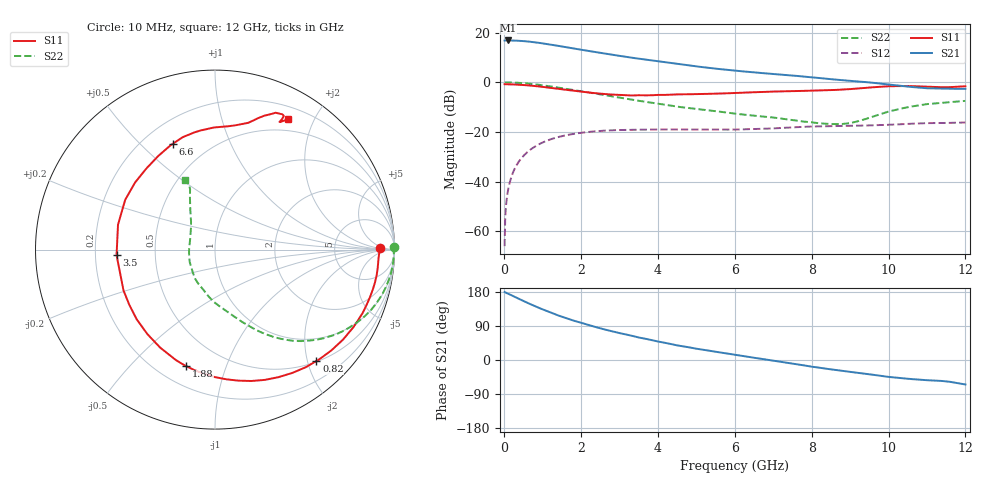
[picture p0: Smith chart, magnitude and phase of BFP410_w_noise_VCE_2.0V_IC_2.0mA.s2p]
! Infineon Technologies  Discrete & RF Semiconductors
! BFP410
! VCE =  2.0 V,  IC =  2.0 mA
! Common Emitter S-Parameters:  Nov 2015
# GHz  S  MA  R  50
!  f  S11  S21  S12  S22
! GHz  MAG  ANG  MAG  ANG  MAG  ANG  MAG  ANG
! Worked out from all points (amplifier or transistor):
!   243 points, 10 MHz to 12 GHz, reference 50 ohm
!   highest |S21| = 16.9 dB at 100 MHz (marker M1)
!   |S21| within 3 dB of that: start of sweep to 1.724 GHz
!   unconditionally stable (mu >= 1): 4.085 GHz to end of sweep
!   at 240 MHz: K = 0.04, MSG = 26.4 dB, |S12| = -35.9 dB
!   at 1.84 GHz: K = 0.38, MSG = 17.1 dB, |S12| = -20.7 dB
!   at 12 GHz: K = 1.15, MAG = 4.4 dB, |S12| = -16.2 dB
!   lowest NFmin = 0.82 dB at 900 MHz
!   S11 on the Smith chart (normalised r, x): 10 MHz: 23, +2; 820 MHz: 0.51, -2.16; 1.88 GHz: 0.31, -0.73; 3.5 GHz: 0.29, -0.03; 6.6 GHz: 0.32, +0.63; 12 GHz: 0.35, +1.65
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0.01  0.9168 0.4  6.943 179.5  0.0005 148.6  0.9991 0.7
0.02  0.9159 -0.9  6.971 179.1  0.0014 87.5  0.9931 -0.1
0.03  0.9147 -1.5  6.96 178.4  0.0021 87.9  0.9943 -0.5
0.1  0.9123 -5.9  6.978 175.2  0.0068 86.8  0.9959 -3.0
0.22  0.9083 -12.8  6.946 169.3  0.0147 83.0  0.9905 -6.8
0.44  0.8902 -25.7  6.821 158.7  0.0292 76.1  0.97 -13.6
0.6  0.8719 -35.1  6.655 150.9  0.0391 70.9  0.9478 -18.4
0.82  0.8394 -47.7  6.356 141.2  0.0519 64.1  0.9089 -24.5
1.08  0.7967 -62.4  5.966 130.2  0.0653 56.5  0.8554 -31.3
1.3  0.7597 -74.5  5.612 121.5  0.075 50.5  0.8078 -36.5
1.88  0.6685 -103.9  4.713 101.6  0.0934 36.9  0.6871 -47.8
2.02  0.6494 -110.4  4.515 97.4  0.0967 34.2  0.6607 -50.1
2.64  0.5797 -140.1  3.773 79.9  0.1066 22.9  0.5461 -59.3
3.5  0.5493 -176.8  2.998 59.4  0.1113 11.8  0.425 -70.0
4.1  0.5578 162.6  2.587 47.0  0.1124 6.5  0.3601 -77.7
5  0.5816 139.9  2.094 29.8  0.112 0.4  0.2907 -91.5
6.1  0.6133 119.5  1.694 12.3  0.1123 -3.3  0.2295 -107.5
6.6  0.6349 111.7  1.563 4.5  0.1149 -4.3  0.2091 -117.4
8.2  0.6848 87.1  1.221 -20.3  0.1296 -11.6  0.1495 -163.0
9  0.7304 75.3  1.071 -31.3  0.1327 -15.4  0.1507 156.6
10.2  0.8378 64.8  0.869 -46.5  0.1419 -19.9  0.2809 119.5
12  0.8328 60.7  0.737 -64.6  0.1553 -31.8  0.423 113.5
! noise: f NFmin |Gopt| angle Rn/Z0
0.45  0.86  0.5  7  0.29
0.9  0.82  0.48  21  0.27
1.8  1.05  0.37  55  0.23
2.4  1.09  0.36  63  0.19
5.5  2.24  0.36  -145  0.21
10  3.98  0.7  -56  2.38
